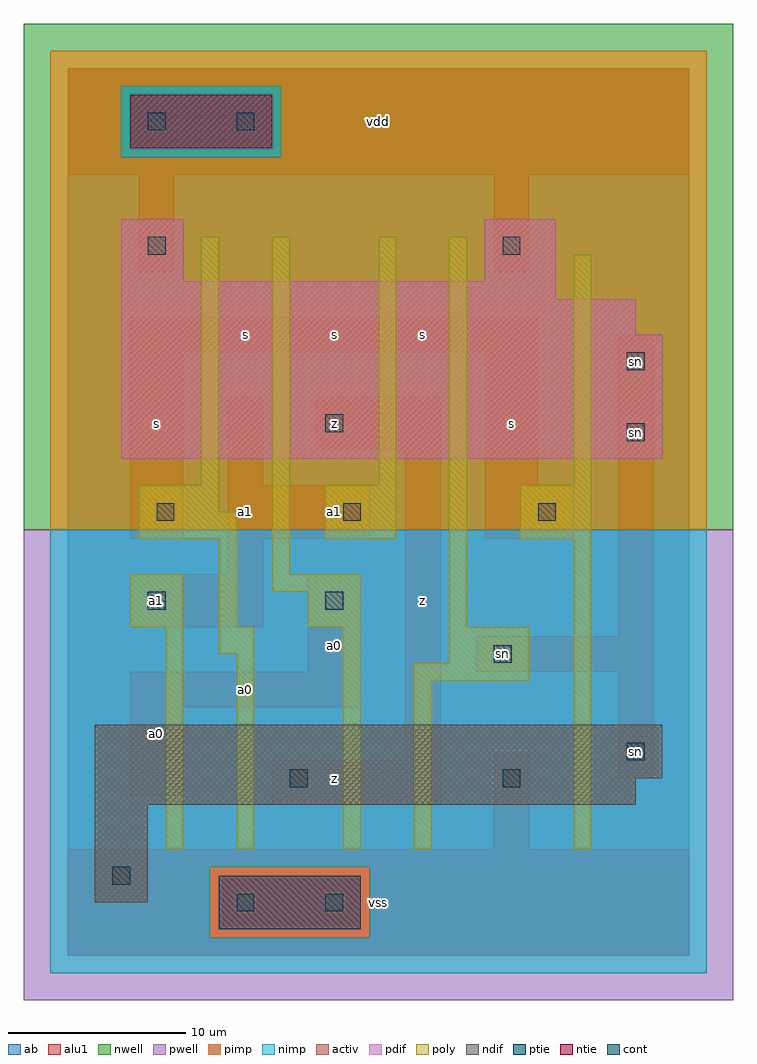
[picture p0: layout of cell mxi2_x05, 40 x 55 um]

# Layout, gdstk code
import gdstk
lib = gdstk.Library(unit=1e-6, precision=1e-09)
def R(c, l, rs):  # rectangles x0, y0, x1, y1
    for r in rs: c.add(gdstk.rectangle(r[:2], r[2:], *l))
ndif = (3, 0)
pdif = (4, 0)
ntie = (5, 0)
ptie = (6, 0)
cont = (25, 0)
pwell = (41, 0)
nwell = (42, 0)
activ = (43, 0)
pimp = (44, 0)
nimp = (45, 0)
poly = (46, 0)
alu1 = (49, 0)
ab = (63, 0)

mxi2_x05 = lib.new_cell('mxi2_x05')
R(mxi2_x05, ndif, [(1.5,3,4.5,8.5), (1.5,8.5,32,10), (1.5,10,33.5,13)])
R(mxi2_x05, pdif, [(3,28,33.5,35), (3,35,32,37), (3,37,27.5,38), (3,38,6.5,41.5), (23.5,38,27.5,41.5)])
R(mxi2_x05, ntie, [(3.5,45.5,11.5,48.5)])
R(mxi2_x05, ptie, [(8.5,1.5,16.5,4.5)])
R(mxi2_x05, cont, [(9.5,2.5,10.5,3.5), (14.5,2.5,15.5,3.5), (2.5,4,3.5,5), (12.5,9.5,13.5,10.5), (24.5,9.5,25.5,10.5), (31.5,11,32.5,12), (24,16.5,25,17.5), (4.5,19.5,5.5,20.5), (14.5,19.5,15.5,20.5), (5,24.5,6,25.5), (15.5,24.5,16.5,25.5), (26.5,24.5,27.5,25.5), (31.5,29,32.5,30), (14.5,29.5,15.5,30.5), (31.5,33,32.5,34), (4.5,39.5,5.5,40.5), (24.5,39.5,25.5,40.5), (4.5,46.5,5.5,47.5), (9.5,46.5,10.5,47.5)])
R(mxi2_x05, pwell, [(-2.5,-2.5,37.5,24)])
R(mxi2_x05, nwell, [(-2.5,24,37.5,52.5)])
R(mxi2_x05, activ, [(8.5,1.5,16.5,4.5), (1.5,3,4.5,8.5), (1.5,8.5,32,10), (1.5,10,33.5,13), (3,28,33.5,35), (3,35,32,37), (3,37,27.5,38), (3,38,6.5,41.5), (23.5,38,27.5,41.5), (3.5,45.5,11.5,48.5)])
R(mxi2_x05, pimp, [(8,1,17,5), (-1,24,36,45), (-1,45,3,49), (12,45,36,49), (-1,49,36,51)])
R(mxi2_x05, nimp, [(-1,-1,36,1), (-1,1,8,5), (17,1,36,5), (-1,5,36,24), (3,45,12,49)])
R(mxi2_x05, poly, [(5.5,6,6.5,18.5), (9.5,6,10.5,17), (15.5,6,16.5,18.5), (19.5,6,20.5,15.5), (28.5,6,29.5,23.5), (19.5,15.5,26,16.5), (21.5,16.5,26,18.5), (8.5,17,10.5,18.5), (3.5,18.5,6.5,21.5), (8.5,18.5,9.5,23.5), (13.5,18.5,16.5,20.5), (21.5,18.5,22.5,40.5), (11.5,20.5,16.5,21.5), (11.5,21.5,12.5,40.5), (4,23.5,9.5,25), (14.5,23.5,18.5,26.5), (25.5,23.5,29.5,26.5), (4,25,8.5,26.5), (7.5,26.5,8.5,40.5), (17.5,26.5,18.5,40.5), (28.5,26.5,29.5,39.5)])
R(mxi2_x05, alu1, [(0,0,35,6), (0,0,35,6), (24,6,26,11.5), (24,6,26,11.5), (11.5,8.5,21,11), (11.5,8.5,21,11), (3.5,9,6.5,14), (3.5,9,6.5,14), (31,10,33,16), (31,10,33,16), (19,11,21,28.5), (19,11,21,28.5), (3.5,14,16.5,16), (3.5,14,16.5,16), (13.5,16,16.5,21.5), (13.5,16,16.5,21.5), (23,16,33,18), (23,16,33,18), (31,18,33,35), (31,18,33,35), (3.5,18.5,11,21.5), (3.5,18.5,11,21.5), (9,21.5,11,23.5), (9,21.5,11,23.5), (3.5,23.5,6.5,34), (3.5,23.5,6.5,34), (9,23.5,17,26.5), (9,23.5,17,26.5), (23.5,23.5,28.5,26.5), (23.5,23.5,28.5,26.5), (9,26.5,11,31.5), (9,26.5,11,31.5), (23.5,26.5,26.5,34), (23.5,26.5,26.5,34), (14,28.5,21,31.5), (14,28.5,21,31.5), (3.5,34,26.5,36), (3.5,34,26.5,36), (4,38.5,6,44), (4,38.5,6,44), (24,38.5,26,44), (24,38.5,26,44), (0,44,35,50), (0,44,35,50)])
R(mxi2_x05, ab, [(0,0,35,50)])
mxi2_x05.add(gdstk.Label('sn', (32,11.5), layer=49, texttype=0))
mxi2_x05.add(gdstk.Label('sn', (24.5,17), layer=49, texttype=0))
mxi2_x05.add(gdstk.Label('sn', (32,29.5), layer=49, texttype=0))
mxi2_x05.add(gdstk.Label('sn', (32,33.5), layer=49, texttype=0))
mxi2_x05.add(gdstk.Label('a0', (5,12.5), layer=49, texttype=0))
mxi2_x05.add(gdstk.Label('a1', (5,20), layer=49, texttype=0))
mxi2_x05.add(gdstk.Label('s', (5,30), layer=49, texttype=0))
mxi2_x05.add(gdstk.Label('z', (15,10), layer=49, texttype=0))
mxi2_x05.add(gdstk.Label('a0', (10,15), layer=49, texttype=0))
mxi2_x05.add(gdstk.Label('a0', (15,17.5), layer=49, texttype=0))
mxi2_x05.add(gdstk.Label('a1', (15,25), layer=49, texttype=0))
mxi2_x05.add(gdstk.Label('a1', (10,25), layer=49, texttype=0))
mxi2_x05.add(gdstk.Label('s', (10,35), layer=49, texttype=0))
mxi2_x05.add(gdstk.Label('s', (15,35), layer=49, texttype=0))
mxi2_x05.add(gdstk.Label('z', (15,30), layer=49, texttype=0))
mxi2_x05.add(gdstk.Label('vss', (17.5,3), layer=49, texttype=0))
mxi2_x05.add(gdstk.Label('z', (20,20), layer=49, texttype=0))
mxi2_x05.add(gdstk.Label('s', (20,35), layer=49, texttype=0))
mxi2_x05.add(gdstk.Label('s', (25,30), layer=49, texttype=0))
mxi2_x05.add(gdstk.Label('vdd', (17.5,47), layer=49, texttype=0))

lib.write_gds('mxi2_x05.gds')
